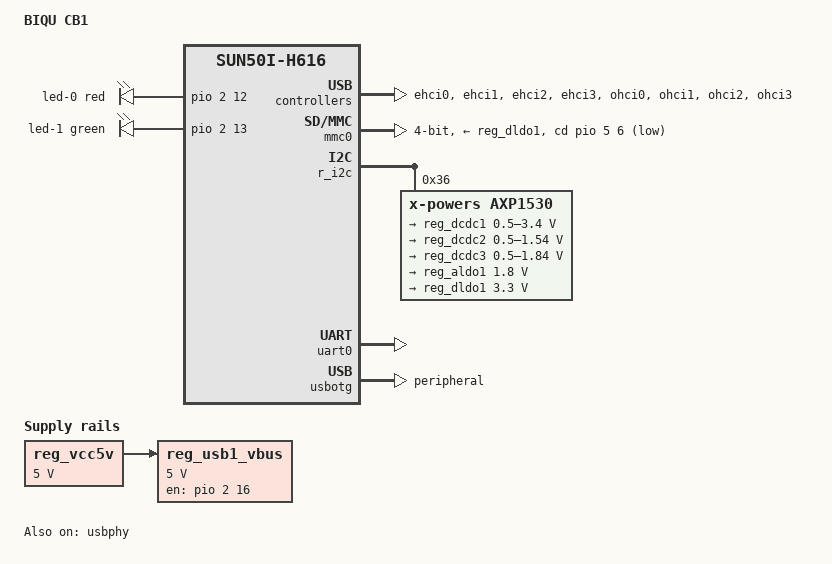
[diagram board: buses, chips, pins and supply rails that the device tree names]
// SPDX-License-Identifier: (GPL-2.0+ or MIT)
/*
 * Copyright (C) 2022 Arm Ltd.
 */

/dts-v1/;

#include "sun50i-h616.dtsi"

#include <dt-bindings/gpio/gpio.h>
#include <dt-bindings/interrupt-controller/arm-gic.h>
#include <dt-bindings/leds/common.h>

/ {
	model = "BIQU CB1";
	compatible = "allwinner,sun50i-h616";

	aliases {
		serial0 = &uart0;
	};

	chosen {
		stdout-path = "serial0:115200n8";
	};

	leds {
		compatible = "gpio-leds";

		led-0 {
			function = LED_FUNCTION_POWER;
			color = <LED_COLOR_ID_RED>;
			gpios = <&pio 2 12 GPIO_ACTIVE_HIGH>; /* PC12 */
			default-state = "on";
		};

		led-1 {
			function = LED_FUNCTION_STATUS;
			color = <LED_COLOR_ID_GREEN>;
			gpios = <&pio 2 13 GPIO_ACTIVE_HIGH>; /* PC13 */
		};
	};

	reg_vcc5v: vcc5v {
		/* board wide 5V supply directly from the USB-C socket */
		compatible = "regulator-fixed";
		regulator-name = "vcc-5v";
		regulator-min-microvolt = <5000000>;
		regulator-max-microvolt = <5000000>;
		regulator-always-on;
	};

	reg_usb1_vbus: regulator-usb1-vbus {
		compatible = "regulator-fixed";
		regulator-name = "usb1-vbus";
		regulator-min-microvolt = <5000000>;
		regulator-max-microvolt = <5000000>;
		vin-supply = <&reg_vcc5v>;
		enable-active-high;
		gpio = <&pio 2 16 GPIO_ACTIVE_HIGH>; /* PC16 */
	};
};

&ehci0 {
	status = "okay";
};

&ehci1 {
	status = "okay";
};

&ehci2 {
	status = "okay";
};

&ehci3 {
	status = "okay";
};

&mmc0 {
	vmmc-supply = <&reg_dldo1>;
	cd-gpios = <&pio 5 6 GPIO_ACTIVE_LOW>;	/* PF6 */
	no-1-8-v;
	bus-width = <4>;
	status = "okay";
};

&ohci0 {
	status = "okay";
};

&ohci1 {
	status = "okay";
};

&ohci2 {
	status = "okay";
};

&ohci3 {
	status = "okay";
};

&r_i2c {
	status = "okay";

	axp1530: pmic@36 {
		compatible = "x-powers,axp1530";
		status = "okay";
		reg = <0x36>;
		wakeup-source;

		standby_param: standby_param {
			vcc-dram = <0x4>;
		};

		regulators{
			reg_dcdc1: dcdc1 {
				regulator-name = "axp1530-dcdc1";
				regulator-min-microvolt = <500000>;
				regulator-max-microvolt = <3400000>;
				regulator-step-delay-us = <25>;
				regulator-final-delay-us = <50>;
				regulator-always-on;
			};

			reg_dcdc2: dcdc2 {
				regulator-name = "axp1530-dcdc2";
				regulator-min-microvolt = <500000>;
				regulator-max-microvolt = <1540000>;
				regulator-step-delay-us = <25>;
				regulator-final-delay-us = <50>;
				regulator-ramp-delay = <200>;
				regulator-always-on;
			};

			reg_dcdc3: dcdc3 {
				regulator-name = "axp1530-dcdc3";
				regulator-min-microvolt = <500000>;
				regulator-max-microvolt = <1840000>;
				regulator-step-delay-us = <25>;
				regulator-final-delay-us = <50>;
				regulator-always-on;
			};

			reg_aldo1: ldo1 {
				regulator-name = "axp1530-aldo1";
				regulator-min-microvolt = <1800000>;
				regulator-max-microvolt = <1800000>;
				regulator-step-delay-us = <25>;
				regulator-final-delay-us = <50>;
				regulator-always-on;
			};

			reg_dldo1: ldo2 {
				regulator-name = "axp1530-dldo1";
				regulator-min-microvolt = <3300000>;
				regulator-max-microvolt = <3300000>;
				regulator-step-delay-us = <25>;
				regulator-final-delay-us = <50>;
				regulator-always-on;
			};
		};
	};
};

&uart0 {
	pinctrl-names = "default";
	pinctrl-0 = <&uart0_ph_pins>;
	status = "okay";
};

&usbotg {
	/*
	 * PHY0 pins are connected to a USB-C socket, but a role switch
	 * is not implemented: both CC pins are pulled to GND.
	 * The VBUS pins power the device, so a fixed peripheral mode
	 * is the best choice.
	 * The board can be powered via GPIOs, in this case port0 *can*
	 * act as a host (with a cable/adapter ignoring CC), as VBUS is
	 * then provided by the GPIOs. Any user of this setup would
	 * need to adjust the DT accordingly: dr_mode set to "host",
	 * enabling OHCI0 and EHCI0.
	 */
	dr_mode = "peripheral";
	status = "okay";
};

&usbphy {
	usb1_vbus-supply = <&reg_usb1_vbus>;
	status = "okay";
};
